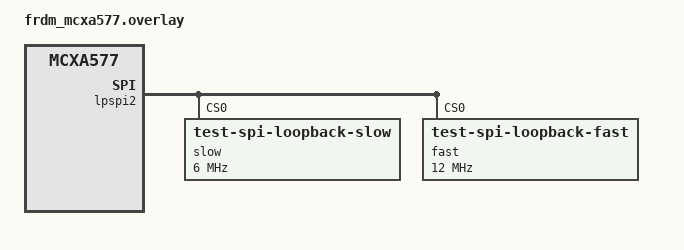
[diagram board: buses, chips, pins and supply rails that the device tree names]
/*
 * Copyright 2026 NXP
 *
 * SPDX-License-Identifier: Apache-2.0
 */

tst_dma0: &edma0 {
	status = "okay";
};

&lpspi2 {
	slow@0 {
		compatible = "test-spi-loopback-slow";
		reg = <0>;
		spi-max-frequency = <6000000>;
	};
	fast@0 {
		compatible = "test-spi-loopback-fast";
		reg = <0>;
		spi-max-frequency = <12000000>;
	};
};
